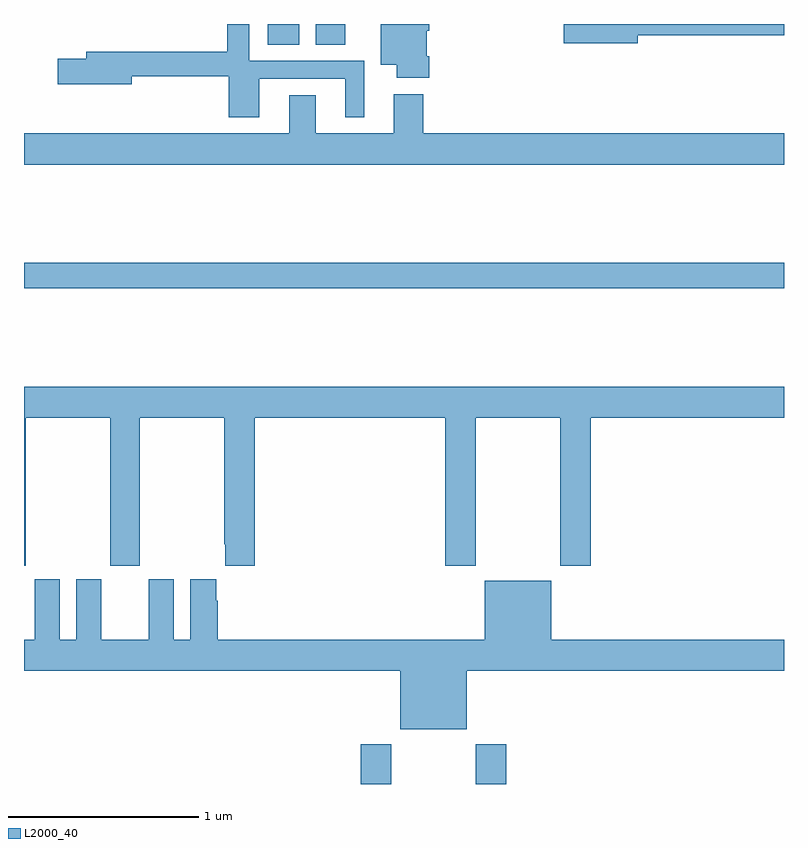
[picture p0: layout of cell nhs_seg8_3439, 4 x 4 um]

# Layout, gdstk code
import gdstk
lib = gdstk.Library(unit=1e-6, precision=1e-09)
def R(c, l, rs):  # rectangles x0, y0, x1, y1
    for r in rs: c.add(gdstk.rectangle(r[:2], r[2:], *l))
def P(c, l, *ps):  # polygons
    for p in ps: c.add(gdstk.Polygon(p, *l))
L2000_40 = (2000, 40)

nhs_seg8_3439 = lib.new_cell('nhs_seg8_3439')
R(nhs_seg8_3439, L2000_40, [(324.773,1119.9,324.933,1120.108), (325.378,1119.9,325.538,1120.108), (323,1122.508,327,1122.644), (324.284,1123.792,324.448,1123.9), (324.536,1123.792,324.691,1123.9)])
P(nhs_seg8_3439, L2000_40, [(324.238,1123.611),(324.692,1123.611),(324.692,1123.41),(324.79,1123.41),(324.79,1123.707),(324.186,1123.707),(324.186,1123.9),(324.07,1123.9),(324.07,1123.754),(323.327,1123.754),(323.327,1123.718),(323.178,1123.718),(323.178,1123.583),(323.566,1123.583),(323.566,1123.626),(324.077,1123.626),(324.077,1123.41),(324.238,1123.41)],
  [(326.23,1123.84),(327,1123.84),(327,1123.9),(325.842,1123.9),(325.842,1123.798),(326.23,1123.798)],
  [(325.133,1123.729),(325.12,1123.729),(325.12,1123.865),(325.133,1123.865),(325.133,1123.9),(324.878,1123.9),(324.878,1123.685),(324.962,1123.685),(324.962,1123.617),(325.133,1123.617)],
  [(327,1123.324),(325.1,1123.324),(325.1,1123.531),(324.947,1123.531),(324.947,1123.324),(324.535,1123.324),(324.535,1123.526),(324.395,1123.526),(324.395,1123.324),(323,1123.324),(323,1123.16),(327,1123.16)],
  [(323.01,1121.828),(323.455,1121.828),(323.455,1121.049),(323.61,1121.049),(323.61,1121.828),(324.055,1121.828),(324.055,1121.161),(324.059,1121.161),(324.059,1121.049),(324.215,1121.049),(324.215,1121.828),(325.217,1121.828),(325.217,1121.049),(325.377,1121.049),(325.377,1121.828),(325.822,1121.828),(325.822,1121.049),(325.982,1121.049),(325.982,1121.828),(327,1121.828),(327,1121.992),(323,1121.992),(323,1121.049),(323.01,1121.049)],
  [(325.33,1120.496),(327,1120.496),(327,1120.66),(325.774,1120.66),(325.774,1120.969),(325.424,1120.969),(325.424,1120.66),(324.02,1120.66),(324.02,1120.865),(324.013,1120.865),(324.013,1120.978),(323.876,1120.978),(323.876,1120.66),(323.788,1120.66),(323.788,1120.978),(323.657,1120.978),(323.657,1120.66),(323.407,1120.66),(323.407,1120.978),(323.276,1120.978),(323.276,1120.66),(323.188,1120.66),(323.188,1120.978),(323.057,1120.978),(323.057,1120.66),(323,1120.66),(323,1120.496),(324.98,1120.496),(324.98,1120.187),(325.33,1120.187)])

lib.write_gds('nhs_seg8_3439.gds')
